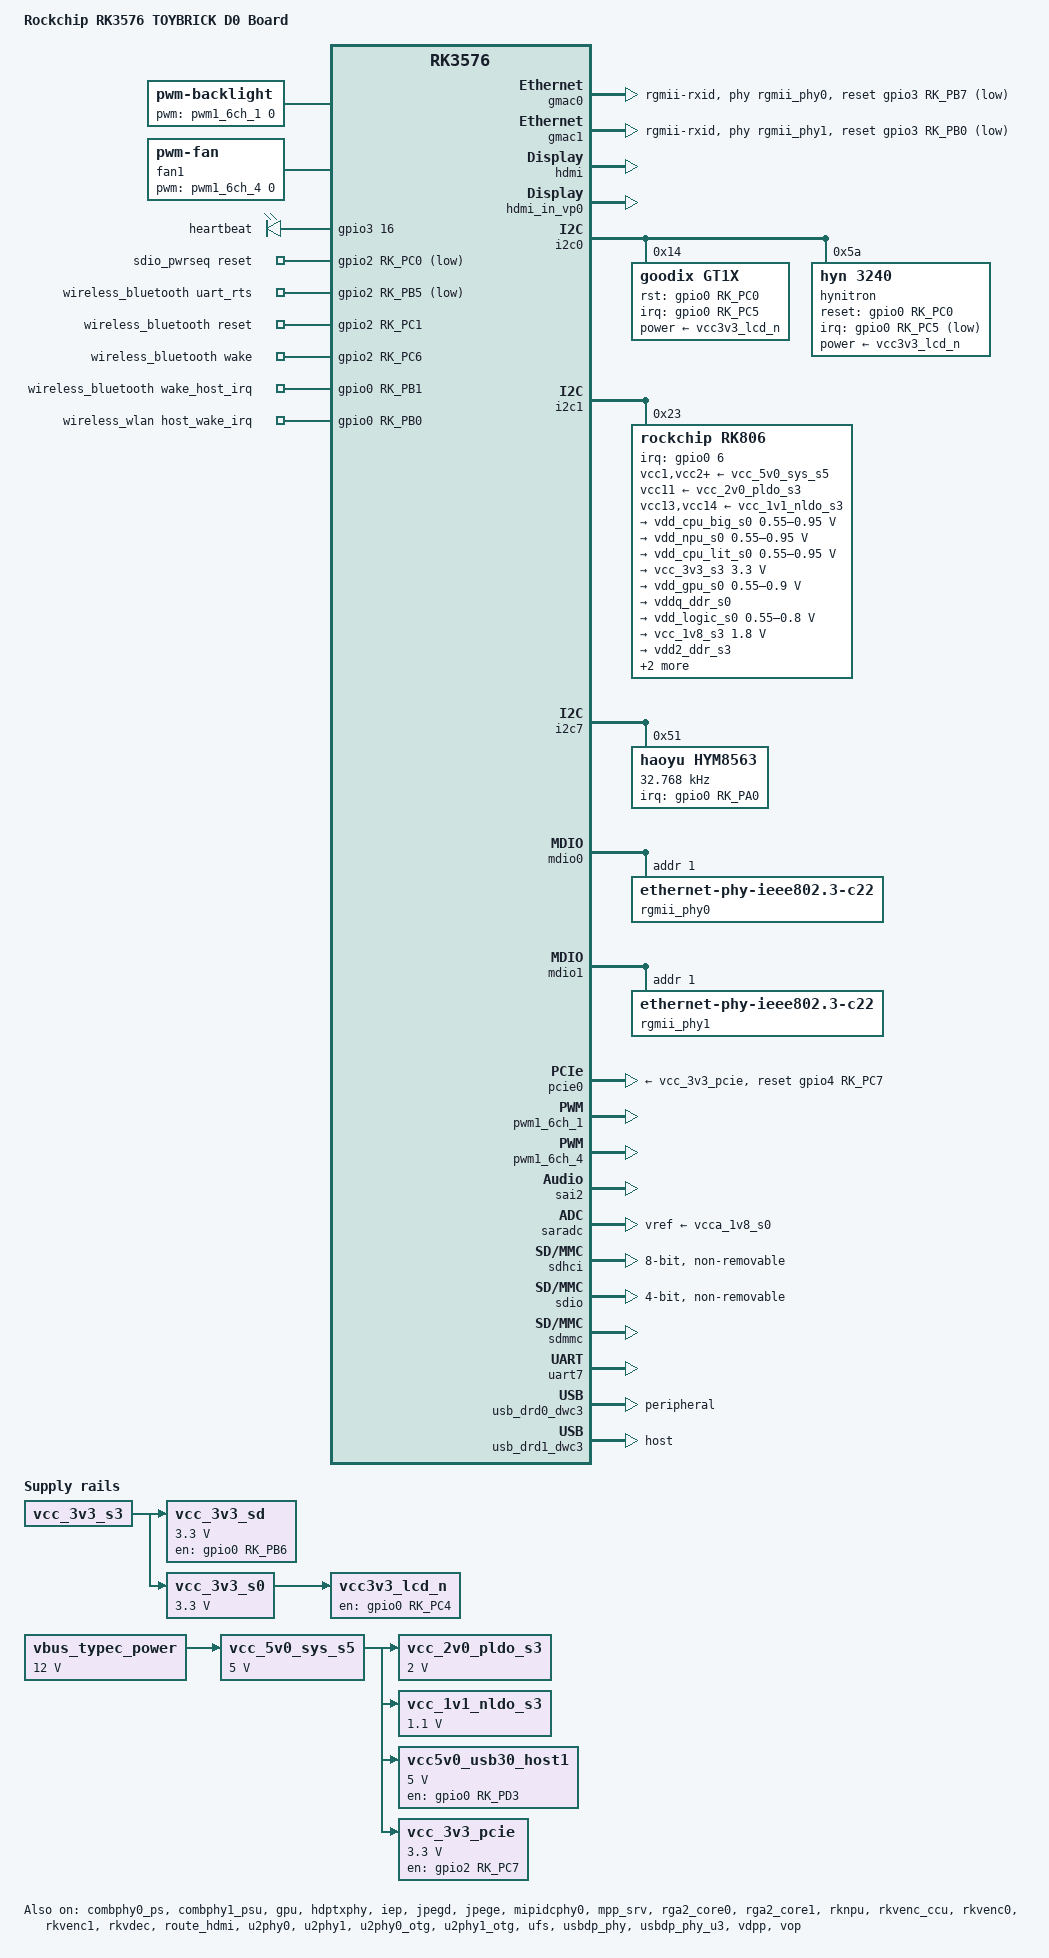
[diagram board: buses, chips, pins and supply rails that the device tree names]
// SPDX-License-Identifier: (GPL-2.0+ OR MIT)
/*
 * Copyright (c) 2024 Rockchip Electronics Co., Ltd.
 *
 */

/dts-v1/;

#include <dt-bindings/gpio/gpio.h>
#include <dt-bindings/pwm/pwm.h>
#include <dt-bindings/pinctrl/rockchip.h>
#include <dt-bindings/input/rk-input.h>
#include <dt-bindings/display/drm_mipi_dsi.h>
#include <dt-bindings/display/rockchip_vop.h>
#include <dt-bindings/sensor-dev.h>
#include <dt-bindings/usb/pd.h>
#include "rk3576.dtsi"
#include "rk3576-linux.dtsi"
#include "rk3576-pinctrl.dtsi"
#include "rk3576-toybrick-cam-dcphy0.dtsi"
#include "rk3576-toybrick-cam-dphy3.dtsi"

/ {
	model = "Rockchip RK3576 TOYBRICK D0 Board";
	compatible = "rockchip,rk3576-toybrick-d0", "rockchip,rk3576";

	reserved_memory: reserved-memory {
		#address-cells = <2>;
		#size-cells = <2>;
		ranges;
		vendor_storage_rm: vendor-storage-rm@00000000 {
				compatible = "rockchip,vendor-storage-rm";
				reg = <0x0 0x0 0x0 0x0>;
		};
	};
	vendor_storage: vendor-storage {
		compatible = "rockchip,ram-vendor-storage";
		memory-region = <&vendor_storage_rm>;
		status = "okay";
	};
	backlight: backlight {
		compatible = "pwm-backlight";
		pwms = <&pwm1_6ch_1 0 25000 0>;
		brightness-levels = <
			  0  20  20  21  21  22  22  23
			 23  24  24  25  25  26  26  27
			 27  28  28  29  29  30  30  31
			 31  32  32  33  33  34  34  35
			 35  36  36  37  37  38  38  39
			 40  41  42  43  44  45  46  47
			 48  49  50  51  52  53  54  55
			 56  57  58  59  60  61  62  63
			 64  65  66  67  68  69  70  71
			 72  73  74  75  76  77  78  79
			 80  81  82  83  84  85  86  87
			 88  89  90  91  92  93  94  95
			 96  97  98  99 100 101 102 103
			104 105 106 107 108 109 110 111
			112 113 114 115 116 117 118 119
			120 121 122 123 124 125 126 127
			128 129 130 131 132 133 134 135
			136 137 138 139 140 141 142 143
			144 145 146 147 148 149 150 151
			152 153 154 155 156 157 158 159
			160 161 162 163 164 165 166 167
			168 169 170 171 172 173 174 175
			176 177 178 179 180 181 182 183
			184 185 186 187 188 189 190 191
			192 193 194 195 196 197 198 199
			200 201 202 203 204 205 206 207
			208 209 210 211 212 213 214 215
			216 217 218 219 220 221 222 223
			224 225 226 227 228 229 230 231
			232 233 234 235 236 237 238 239
			240 241 242 243 244 245 246 247
			248 249 250 251 252 253 254 255
		>;
		default-brightness-level = <200>;
	};

	fan1 {
		compatible = "pwm-fan";
		pwms = <&pwm1_6ch_4 0 40000 0>;
		cooling-levels = <0 80 170 255>;
	};

	// leds: gpio-leds {
	// 	compatible = "gpio-leds";
	// 	pinctrl-names = "default";
	// 	pinctrl-0 =<&leds_gpio>;

	// 	led@1 {
	// 		gpios = <&gpio3 16 GPIO_ACTIVE_HIGH>;
	// 		label = "heartbeat";
	// 		linux,default-trigger = "heartbeat";
	// 	};
	// };

	leds: leds {
		compatible = "gpio-leds";
		work_led: work {
			gpios = <&gpio3 16 GPIO_ACTIVE_HIGH>;
			label = "heartbeat";
			linux,default-trigger = "heartbeat";
		};
	};

	sdio_pwrseq: sdio-pwrseq {
		compatible = "mmc-pwrseq-simple";
		clocks = <&hym8563>;
		clock-names = "ext_clock";
		pinctrl-names = "default";
		pinctrl-0 = <&wifi_poweren_gpio>;

		/*
		 * On the module itself this is one of these (depending
		 * on the actual card populated):
		 * - SDIO_RESET_L_WL_REG_ON
		 * - PDN (power down when low)
		 */
		post-power-on-delay-ms = <200>;
		reset-gpios = <&gpio2 RK_PC0 GPIO_ACTIVE_LOW>;
	};

	vbus_typec_power: vbus-typec-power {
		compatible = "regulator-fixed";
		regulator-name = "vbus_typec_power";
		regulator-always-on;
		regulator-boot-on;
		regulator-min-microvolt = <12000000>;
		regulator-max-microvolt = <12000000>;
	};

	vcc_5v0_sys_s5: vcc-5v0-sys-s5 {
		compatible = "regulator-fixed";
		regulator-name = "vcc_5v0_sys_s5";
		regulator-boot-on;
		regulator-always-on;
		regulator-min-microvolt = <5000000>;
		regulator-max-microvolt = <5000000>;
		vin-supply = <&vbus_typec_power>;
	};

	vcc_2v0_pldo_s3: vcc-2v0-pldo-s3 {
		compatible = "regulator-fixed";
		regulator-name = "vcc_2v0_pldo_s3";
		regulator-boot-on;
		regulator-always-on;
		regulator-min-microvolt = <2000000>;
		regulator-max-microvolt = <2000000>;
		vin-supply = <&vcc_5v0_sys_s5>;
	};

	vcc_1v1_nldo_s3: vcc-1v1-nldo-s3 {
		compatible = "regulator-fixed";
		regulator-name = "vcc_1v1_nldo_s3";
		regulator-boot-on;
		regulator-always-on;
		regulator-min-microvolt = <1100000>;
		regulator-max-microvolt = <1100000>;
		vin-supply = <&vcc_5v0_sys_s5>;
	};

	vcc5v0_usb30_host1: vcc5v0-usb30-host1 {
		compatible = "regulator-fixed";
		regulator-name = "vcc5v0_usb30_host1";
		regulator-boot-on;
		regulator-always-on;
		regulator-min-microvolt = <5000000>;
		regulator-max-microvolt = <5000000>;
		vin-supply = <&vcc_5v0_sys_s5>;
		enable-active-high;
		gpio = <&gpio0 RK_PD3 GPIO_ACTIVE_HIGH>;
		pinctrl-names = "default";
		pinctrl-0 = <&usb_host_pwren>;
	};

	// vcc5v0_usb_otg0: vcc5v0-usb-otg0 {
	//	compatible = "regulator-fixed";
	//	regulator-name = "vcc5v0_usb_otg0";
	//	regulator-boot-on;
	//	regulator-always-on;
	//	regulator-min-microvolt = <5000000>;
	//	regulator-max-microvolt = <5000000>;
	//	vin-supply = <&vcc_5v0_sys_s5>;
	//	enable-active-high;
	//	gpio = <&gpio0 RK_PA5 GPIO_ACTIVE_HIGH>;
	//	pinctrl-names = "default";
	//	pinctrl-0 = <&usb_otg_pwren>;
	// };

	 vcc_3v3_sd: vcc-3v3-sd {
		compatible = "regulator-fixed";
		regulator-name = "vcc_3v3_sd";
		regulator-boot-on;
		regulator-always-on;
		regulator-min-microvolt = <3300000>;
		regulator-max-microvolt = <3300000>;
		vin-supply = <&vcc_3v3_s3>;
		enable-active-high;
		gpio = <&gpio0 RK_PB6 GPIO_ACTIVE_HIGH>;
		pinctrl-names = "default";
		pinctrl-0 = <&sd_pwren>;
	 };

	vcc_3v3_pcie: vcc-3v3-pcie {
		compatible = "regulator-fixed";
		regulator-name = "vcc_3v3_pcie";
		regulator-boot-on;
		regulator-always-on;
		regulator-min-microvolt = <3300000>;
		regulator-max-microvolt = <3300000>;
		vin-supply = <&vcc_5v0_sys_s5>;
		enable-active-high;
		gpio = <&gpio2 RK_PC7 GPIO_ACTIVE_HIGH>;
		pinctrl-names = "default";
		pinctrl-0 = <&pcie_pwren>;
	};

	vcc_3v3_s0: vcc-3v3-s0 {
		compatible = "regulator-fixed";
		regulator-name = "vcc_3v3_s0";
		regulator-boot-on;
		regulator-always-on;
		regulator-min-microvolt = <3300000>;
		regulator-max-microvolt = <3300000>;
		vin-supply = <&vcc_3v3_s3>;
	};

	vcc3v3_lcd_n: vcc3v3-lcd0-n {
		compatible = "regulator-fixed";
		regulator-name = "vcc3v3_lcd0_n";
		regulator-boot-on;
		enable-active-high;
		gpio = <&gpio0 RK_PC4 GPIO_ACTIVE_HIGH>;
		vin-supply = <&vcc_3v3_s0>;
	};

	wireless_bluetooth: wireless-bluetooth {
		compatible = "bluetooth-platdata";
		uart_rts_gpios = <&gpio2 RK_PB5 GPIO_ACTIVE_LOW>;
		pinctrl-names = "default", "rts_gpio";
		pinctrl-0 = <&uart7m0_rtsn>, <&bt_reset_gpio>, <&bt_host_wake_irq>, <&bt_wake_gpio>;
		pinctrl-1 = <&uart7_gpios>;
		BT,reset_gpio    = <&gpio2 RK_PC1 GPIO_ACTIVE_HIGH>;
		BT,wake_gpio     = <&gpio2 RK_PC6 GPIO_ACTIVE_HIGH>;
		BT,wake_host_irq = <&gpio0 RK_PB1 GPIO_ACTIVE_HIGH>;
		status = "okay";
	};

	wireless_wlan: wireless-wlan {
		compatible = "wlan-platdata";
		wifi_chip_type = "ap6275p";
		pinctrl-names = "default";
		pinctrl-0 = <&wifi_host_wake_irq>;
		WIFI,host_wake_irq = <&gpio0 RK_PB0 GPIO_ACTIVE_HIGH>;
		// WIFI,poweren_gpio = <&gpio2 RK_PC0 GPIO_ACTIVE_HIGH>;
		status = "okay";
	};
};

&combphy0_ps {
	status = "okay";
};

&combphy1_psu {
	status = "okay";
};

&cpu_l0 {
	cpu-supply = <&vdd_cpu_lit_s0>;
};

&cpu_b0 {
	cpu-supply = <&vdd_cpu_big_s0>;
};

&display_subsystem {
	clocks = <&hdptxphy>;
	clock-names = "hdmi0_phy_pll";
};

&dsi {
	status = "disabled";
	//rockchip,lane-rate = <1000>;
	dsi_panel: panel@0 {
		status = "okay";
		compatible = "simple-panel-dsi";
		reg = <0>;
		power-supply = <&vcc3v3_lcd_n>;
		backlight = <&backlight>;
		reset-delay-ms = <10>;
		enable-delay-ms = <10>;
		prepare-delay-ms = <10>;
		unprepare-delay-ms = <10>;
		disable-delay-ms = <60>;
		width-mm = <68>;
		height-mm = <121>;
		dsi,flags = <(MIPI_DSI_MODE_VIDEO | MIPI_DSI_MODE_VIDEO_BURST |
			      MIPI_DSI_MODE_LPM | MIPI_DSI_MODE_NO_EOT_PACKET)>;
		dsi,format = <MIPI_DSI_FMT_RGB888>;
		dsi,lanes  = <4>;
		panel-init-sequence = [
			23 00 02 FE 21
			23 00 02 04 00
			23 00 02 00 64
			23 00 02 2A 00
			23 00 02 26 64
			23 00 02 54 00
			23 00 02 50 64
			23 00 02 7B 00
			23 00 02 77 64
			23 00 02 A2 00
			23 00 02 9D 64
			23 00 02 C9 00
			23 00 02 C5 64
			23 00 02 01 71
			23 00 02 27 71
			23 00 02 51 71
			23 00 02 78 71
			23 00 02 9E 71
			23 00 02 C6 71
			23 00 02 02 89
			23 00 02 28 89
			23 00 02 52 89
			23 00 02 79 89
			23 00 02 9F 89
			23 00 02 C7 89
			23 00 02 03 9E
			23 00 02 29 9E
			23 00 02 53 9E
			23 00 02 7A 9E
			23 00 02 A0 9E
			23 00 02 C8 9E
			23 00 02 09 00
			23 00 02 05 B0
			23 00 02 31 00
			23 00 02 2B B0
			23 00 02 5A 00
			23 00 02 55 B0
			23 00 02 80 00
			23 00 02 7C B0
			23 00 02 A7 00
			23 00 02 A3 B0
			23 00 02 CE 00
			23 00 02 CA B0
			23 00 02 06 C0
			23 00 02 2D C0
			23 00 02 56 C0
			23 00 02 7D C0
			23 00 02 A4 C0
			23 00 02 CB C0
			23 00 02 07 CF
			23 00 02 2F CF
			23 00 02 58 CF
			23 00 02 7E CF
			23 00 02 A5 CF
			23 00 02 CC CF
			23 00 02 08 DD
			23 00 02 30 DD
			23 00 02 59 DD
			23 00 02 7F DD
			23 00 02 A6 DD
			23 00 02 CD DD
			23 00 02 0E 15
			23 00 02 0A E9
			23 00 02 36 15
			23 00 02 32 E9
			23 00 02 5F 15
			23 00 02 5B E9
			23 00 02 85 15
			23 00 02 81 E9
			23 00 02 AD 15
			23 00 02 A9 E9
			23 00 02 D3 15
			23 00 02 CF E9
			23 00 02 0B 14
			23 00 02 33 14
			23 00 02 5C 14
			23 00 02 82 14
			23 00 02 AA 14
			23 00 02 D0 14
			23 00 02 0C 36
			23 00 02 34 36
			23 00 02 5D 36
			23 00 02 83 36
			23 00 02 AB 36
			23 00 02 D1 36
			23 00 02 0D 6B
			23 00 02 35 6B
			23 00 02 5E 6B
			23 00 02 84 6B
			23 00 02 AC 6B
			23 00 02 D2 6B
			23 00 02 13 5A
			23 00 02 0F 94
			23 00 02 3B 5A
			23 00 02 37 94
			23 00 02 64 5A
			23 00 02 60 94
			23 00 02 8A 5A
			23 00 02 86 94
			23 00 02 B2 5A
			23 00 02 AE 94
			23 00 02 D8 5A
			23 00 02 D4 94
			23 00 02 10 D1
			23 00 02 38 D1
			23 00 02 61 D1
			23 00 02 87 D1
			23 00 02 AF D1
			23 00 02 D5 D1
			23 00 02 11 04
			23 00 02 39 04
			23 00 02 62 04
			23 00 02 88 04
			23 00 02 B0 04
			23 00 02 D6 04
			23 00 02 12 05
			23 00 02 3A 05
			23 00 02 63 05
			23 00 02 89 05
			23 00 02 B1 05
			23 00 02 D7 05
			23 00 02 18 AA
			23 00 02 14 36
			23 00 02 42 AA
			23 00 02 3D 36
			23 00 02 69 AA
			23 00 02 65 36
			23 00 02 8F AA
			23 00 02 8B 36
			23 00 02 B7 AA
			23 00 02 B3 36
			23 00 02 DD AA
			23 00 02 D9 36
			23 00 02 15 74
			23 00 02 3F 74
			23 00 02 66 74
			23 00 02 8C 74
			23 00 02 B4 74
			23 00 02 DA 74
			23 00 02 16 9F
			23 00 02 40 9F
			23 00 02 67 9F
			23 00 02 8D 9F
			23 00 02 B5 9F
			23 00 02 DB 9F
			23 00 02 17 DC
			23 00 02 41 DC
			23 00 02 68 DC
			23 00 02 8E DC
			23 00 02 B6 DC
			23 00 02 DC DC
			23 00 02 1D FF
			23 00 02 19 03
			23 00 02 47 FF
			23 00 02 43 03
			23 00 02 6E FF
			23 00 02 6A 03
			23 00 02 94 FF
			23 00 02 90 03
			23 00 02 BC FF
			23 00 02 B8 03
			23 00 02 E2 FF
			23 00 02 DE 03
			23 00 02 1A 35
			23 00 02 44 35
			23 00 02 6B 35
			23 00 02 91 35
			23 00 02 B9 35
			23 00 02 DF 35
			23 00 02 1B 45
			23 00 02 45 45
			23 00 02 6C 45
			23 00 02 92 45
			23 00 02 BA 45
			23 00 02 E0 45
			23 00 02 1C 55
			23 00 02 46 55
			23 00 02 6D 55
			23 00 02 93 55
			23 00 02 BB 55
			23 00 02 E1 55
			23 00 02 22 FF
			23 00 02 1E 68
			23 00 02 4C FF
			23 00 02 48 68
			23 00 02 73 FF
			23 00 02 6F 68
			23 00 02 99 FF
			23 00 02 95 68
			23 00 02 C1 FF
			23 00 02 BD 68
			23 00 02 E7 FF
			23 00 02 E3 68
			23 00 02 1F 7E
			23 00 02 49 7E
			23 00 02 70 7E
			23 00 02 96 7E
			23 00 02 BE 7E
			23 00 02 E4 7E
			23 00 02 20 97
			23 00 02 4A 97
			23 00 02 71 97
			23 00 02 97 97
			23 00 02 BF 97
			23 00 02 E5 97
			23 00 02 21 B5
			23 00 02 4B B5
			23 00 02 72 B5
			23 00 02 98 B5
			23 00 02 C0 B5
			23 00 02 E6 B5
			23 00 02 25 F0
			23 00 02 23 E8
			23 00 02 4F F0
			23 00 02 4D E8
			23 00 02 76 F0
			23 00 02 74 E8
			23 00 02 9C F0
			23 00 02 9A E8
			23 00 02 C4 F0
			23 00 02 C2 E8
			23 00 02 EA F0
			23 00 02 E8 E8
			23 00 02 24 FF
			23 00 02 4E FF
			23 00 02 75 FF
			23 00 02 9B FF
			23 00 02 C3 FF
			23 00 02 E9 FF
			23 00 02 FE 3D
			23 00 02 00 04
			23 00 02 FE 23
			23 00 02 08 82
			23 00 02 0A 00
			23 00 02 0B 00
			23 00 02 0C 01
			23 00 02 16 00
			23 00 02 18 02
			23 00 02 1B 04
			23 00 02 19 04
			23 00 02 1C 81
			23 00 02 1F 00
			23 00 02 20 03
			23 00 02 23 04
			23 00 02 21 01
			23 00 02 54 63
			23 00 02 55 54
			23 00 02 6E 45
			23 00 02 6D 36
			23 00 02 FE 3D
			23 00 02 55 78
			23 00 02 FE 20
			23 00 02 26 30
			23 00 02 FE 3D
			23 00 02 20 71
			23 00 02 50 8F
			23 00 02 51 8F
			23 00 02 FE 00
			23 00 02 35 00
			05 78 01 11
			05 00 01 29
		];

		panel-exit-sequence = [
			05 00 01 28
			05 00 01 10
		];

		disp_timings0: display-timings {
			native-mode = <&dsi_timing0>;
			dsi_timing0: timing0 {
				clock-frequency = <132000000>;
				hactive = <1080>;
				vactive = <1920>;
				hfront-porch = <15>;
				hsync-len = <4>;
				hback-porch = <30>;
				vfront-porch = <15>;
				vsync-len = <2>;
				vback-porch = <15>;
				hsync-active = <0>;
				vsync-active = <0>;
				de-active = <0>;
				pixelclk-active = <0>;
			};
		};

		ports {
			#address-cells = <1>;
			#size-cells = <0>;

			port@0 {
				reg = <0>;
				panel_in_dsi: endpoint {
					remote-endpoint = <&dsi_out_panel>;
				};
			};
		};
	};

	ports {
		#address-cells = <1>;
		#size-cells = <0>;

		port@1 {
			reg = <1>;
			dsi_out_panel: endpoint {
				remote-endpoint = <&panel_in_dsi>;
			};
		};
	};

};

&dsi_in_vp0 {
	status = "disabled";
};

&dsi_in_vp1 {
	status = "disabled";
};

&dsi_in_vp2 {
	status = "disabled";
};

&dsi_in_vopl {
	status = "disabled";
};

&gmac0 {
	/* Use rgmii-rxid mode to disable rx delay inside Soc */
	phy-mode = "rgmii-rxid";
	clock_in_out = "output";

	snps,reset-gpio = <&gpio3 RK_PB7 GPIO_ACTIVE_LOW>;
	snps,reset-active-low;
	/* Reset time is 20ms, 100ms for rtl8211f */
	snps,reset-delays-us = <0 20000 100000>;

	pinctrl-names = "default";
	pinctrl-0 = <&eth0m0_miim
		     &eth0m0_tx_bus2
		     &eth0m0_rx_bus2
		     &eth0m0_rgmii_clk
		     &eth0m0_rgmii_bus
		     &ethm0_clk0_25m_out>;

	tx_delay = <0x21>;
	/* rx_delay = <0x3f>; */

	phy-handle = <&rgmii_phy0>;
	status = "okay";
};

&gmac1 {
	/* Use rgmii-rxid mode to disable rx delay inside Soc */
	phy-mode = "rgmii-rxid";
	clock_in_out = "output";

	snps,reset-gpio = <&gpio3 RK_PB0 GPIO_ACTIVE_LOW>;
	snps,reset-active-low;
	/* Reset time is 20ms, 100ms for rtl8211f */
	snps,reset-delays-us = <0 20000 100000>;

	pinctrl-names = "default";
	pinctrl-0 = <&eth1m1_miim
		     &eth1m1_tx_bus2
		     &eth1m1_rx_bus2
		     &eth1m1_rgmii_clk
		     &eth1m1_rgmii_bus
		     &ethm1_clk1_25m_out>;

	tx_delay = <0x22>;
	/* rx_delay = <0x3f>; */

	phy-handle = <&rgmii_phy1>;
	status = "okay";
};

&gpu {
	mali-supply = <&vdd_gpu_s0>;
	status = "okay";
};

&hdmi {
	status = "okay";
	enable-gpios = <&gpio4 RK_PC4 GPIO_ACTIVE_HIGH>;
	rockchip,sda-falling-delay-ns = <360>;
};

&hdmi_in_vp0 {
	status = "okay";
};

&hdptxphy {
	status = "okay";
};

&i2c0 {
	pinctrl-0 = <&i2c0m1_xfer>;
	status = "okay";

	gt1x: gt1x@14 {
		status = "okay";
		compatible = "goodix,gt1x";
		reg = <0x14>;
		pinctrl-names = "default";
		pinctrl-0 = <&touch_gpio>;
		goodix,rst-gpio = <&gpio0 RK_PC0 GPIO_ACTIVE_HIGH>;
		goodix,irq-gpio = <&gpio0 RK_PC5 IRQ_TYPE_LEVEL_LOW>;
		power-supply = <&vcc3v3_lcd_n>;
	};

	hynitron: hynitron@5a {
		status = "okay";
		compatible = "hyn,3240";
		reg = <0x5a>;
		power-supply = <&vcc3v3_lcd_n>;

		pinctrl-names = "ts_active","ts_suspend";
		pinctrl-0 = <&ts_int_active &ts_reset_active>;
		pinctrl-1 = <&ts_int_suspend &ts_reset_suspend>;

		reset-gpios = <&gpio0 RK_PC0 GPIO_ACTIVE_HIGH>;
		irq-gpios = <&gpio0 RK_PC5 GPIO_ACTIVE_LOW>;

		max-touch-number = <5>;
		display-coords = <0 0 1080 1920>;
		pos-swap = <0>;
		posx-reverse = <0>;
		posy-reverse = <0>;
	};
};

&i2c1 {
	status = "okay";

	rk806: pmic@23 {
		compatible = "rockchip,rk806";
		reg = <0x23>;

		interrupt-parent = <&gpio0>;
		interrupts = <6 IRQ_TYPE_LEVEL_LOW>;

		pinctrl-names = "default";
		pinctrl-0 = <&pmic_pins>;

		/* 2800mv-3500mv */
		low_voltage_threshold = <3000>;
		/* 2700mv-3400mv */
		shutdown_voltage_threshold = <2700>;
		/* 140 160 */
		shutdown_temperture_threshold = <160>;
		hotdie_temperture_threshold = <115>;

		/* PWRON_ON_TIME: 0:500mS; 1:20mS */
		pwron-on-time-500ms;

		/* 0: restart PMU;
		 * 1: reset all the power off reset registers,
		 *    forcing the state to switch to ACTIVE mode;
		 * 2: Reset all the power off reset registers,
		 *    forcing the state to switch to ACTIVE mode,
		 *    and simultaneously pull down the RESETB PIN for 5mS before releasing
		 */
		pmic-reset-func = <1>;
		/* buck5 external feedback resister disable */
		buck5-feedback-disable;

		vcc1-supply = <&vcc_5v0_sys_s5>;
		vcc2-supply = <&vcc_5v0_sys_s5>;
		vcc3-supply = <&vcc_5v0_sys_s5>;
		vcc4-supply = <&vcc_5v0_sys_s5>;
		vcc5-supply = <&vcc_5v0_sys_s5>;
		vcc6-supply = <&vcc_5v0_sys_s5>;
		vcc7-supply = <&vcc_5v0_sys_s5>;
		vcc8-supply = <&vcc_5v0_sys_s5>;
		vcc9-supply = <&vcc_5v0_sys_s5>;
		vcc10-supply = <&vcc_5v0_sys_s5>;
		vcc11-supply = <&vcc_2v0_pldo_s3>;
		vcc12-supply = <&vcc_5v0_sys_s5>;
		vcc13-supply = <&vcc_1v1_nldo_s3>;
		vcc14-supply = <&vcc_1v1_nldo_s3>;
		vcca-supply = <&vcc_5v0_sys_s5>;

		pwrkey {
			status = "okay";
		};

		regulators {
			vdd_cpu_big_s0: DCDC_REG1 {
				regulator-always-on;
				regulator-boot-on;
				regulator-init-microvolt = <850000>;
				regulator-min-microvolt = <550000>;
				regulator-max-microvolt = <950000>;
				regulator-ramp-delay = <12500>;
				regulator-name = "vdd_cpu_big_s0";
				regulator-enable-ramp-delay = <400>;
				regulator-state-mem {
					regulator-off-in-suspend;
				};
			};

			vdd_npu_s0: DCDC_REG2 {
				regulator-always-on;
				regulator-boot-on;
				regulator-min-microvolt = <550000>;
				regulator-max-microvolt = <950000>;
				regulator-ramp-delay = <12500>;
				regulator-name = "vdd_npu_s0";
				regulator-state-mem {
					regulator-off-in-suspend;
				};
			};

			vdd_cpu_lit_s0: DCDC_REG3 {
				regulator-always-on;
				regulator-boot-on;
				regulator-init-microvolt = <850000>;
				regulator-min-microvolt = <550000>;
				regulator-max-microvolt = <950000>;
				regulator-ramp-delay = <12500>;
				regulator-name = "vdd_cpu_lit_s0";
				regulator-state-mem {
					regulator-off-in-suspend;
					regulator-suspend-microvolt = <750000>;
				};
			};

			vcc_3v3_s3: DCDC_REG4 {
				regulator-always-on;
				regulator-boot-on;
				regulator-min-microvolt = <3300000>;
				regulator-max-microvolt = <3300000>;
				regulator-name = "vcc_3v3_s3";
				regulator-state-mem {
					regulator-on-in-suspend;
					regulator-suspend-microvolt = <3300000>;
				};
			};

			vdd_gpu_s0: DCDC_REG5 {
				regulator-boot-on;
				regulator-init-microvolt = <750000>;
				regulator-min-microvolt = <550000>;
				regulator-max-microvolt = <900000>;
				regulator-ramp-delay = <12500>;
				regulator-name = "vdd_gpu_s0";
				regulator-enable-ramp-delay = <400>;
				regulator-state-mem {
					regulator-off-in-suspend;
					regulator-suspend-microvolt = <850000>;
				};
			};

			vddq_ddr_s0: DCDC_REG6 {
				regulator-always-on;
				regulator-boot-on;
				regulator-name = "vddq_ddr_s0";
				regulator-state-mem {
					regulator-off-in-suspend;
				};
			};

			vdd_logic_s0: vdd_log_mem_s0: DCDC_REG7 {
				regulator-always-on;
				regulator-boot-on;
				regulator-init-microvolt = <750000>;
				regulator-min-microvolt = <550000>;
				regulator-max-microvolt = <800000>;
				regulator-name = "vdd_logic_s0";
				regulator-state-mem {
					regulator-off-in-suspend;
				};
			};

			vcc_1v8_s3: DCDC_REG8 {
				regulator-always-on;
				regulator-boot-on;
				regulator-min-microvolt = <1800000>;
				regulator-max-microvolt = <1800000>;
				regulator-name = "vcc_1v8_s3";
				regulator-state-mem {
					regulator-on-in-suspend;
					regulator-suspend-microvolt = <1800000>;
				};
			};

			vdd2_ddr_s3: DCDC_REG9 {
				regulator-always-on;
				regulator-boot-on;
				regulator-name = "vdd2_ddr_s3";
				regulator-state-mem {
					regulator-on-in-suspend;
				};
			};

			vdd_ddr_s0: DCDC_REG10 {
				regulator-always-on;
				regulator-boot-on;
				regulator-min-microvolt = <550000>;
				regulator-max-microvolt = <1200000>;
				regulator-name = "vdd_ddr_s0";
				regulator-state-mem {
					regulator-off-in-suspend;
				};
			};

			vcca_1v8_s0: PLDO_REG1 {
				regulator-always-on;
				regulator-boot-on;
				regulator-min-microvolt = <1800000>;
				regulator-max-microvolt = <1800000>;
				regulator-name = "vcca_1v8_s0";
				regulator-state-mem {
					regulator-off-in-suspend;
				};
			};

			vcc_1v8_cam: PLDO_REG2 {
				regulator-always-on;
				regulator-boot-on;
				regulator-min-microvolt = <1800000>;
				regulator-max-microvolt = <1800000>;
				regulator-name = "vcc_1v8_cam";
				regulator-state-mem {
					regulator-off-in-suspend;
				};
			};

			vdda_1v2_s0: PLDO_REG3 {
				regulator-always-on;
				regulator-boot-on;
				regulator-min-microvolt = <1200000>;
				regulator-max-microvolt = <1200000>;
				regulator-name = "vdda_1v2_s0";
				regulator-state-mem {
					regulator-off-in-suspend;
				};
			};

			vcca3v3_codec: PLDO_REG4 {
				regulator-always-on;
				regulator-boot-on;
				regulator-min-microvolt = <3300000>;
				regulator-max-microvolt = <3300000>;
				regulator-name = "vcca3v3_codec";
				regulator-state-mem {
					regulator-off-in-suspend;
				};
			};

			vccio_sd_s0: PLDO_REG5 {
				regulator-always-on;
				regulator-boot-on;
				regulator-min-microvolt = <1800000>;
				regulator-max-microvolt = <3300000>;
				regulator-name = "vccio_sd_s0";
				regulator-state-mem {
					regulator-on-in-suspend;
				};
			};

			vcca1v8_pldo6_s3: PLDO_REG6 {
				regulator-always-on;
				regulator-boot-on;
				regulator-min-microvolt = <1800000>;
				regulator-max-microvolt = <1800000>;
				regulator-name = "vcca1v8_pldo6_s3";
				regulator-state-mem {
					regulator-on-in-suspend;
					regulator-suspend-microvolt = <1800000>;
				};
			};

			vdd_0v75_s3: NLDO_REG1 {
				regulator-always-on;
				regulator-boot-on;
				regulator-min-microvolt = <750000>;
				regulator-max-microvolt = <750000>;
				regulator-name = "vdd_0v75_s3";
				regulator-state-mem {
					regulator-on-in-suspend;
					regulator-suspend-microvolt = <750000>;
				};
			};

			vdda_ddr_pll_s0: NLDO_REG2 {
				regulator-always-on;
				regulator-boot-on;
				regulator-min-microvolt = <850000>;
				regulator-max-microvolt = <850000>;
				regulator-name = "vdda_ddr_pll_s0";
				regulator-state-mem {
					regulator-off-in-suspend;
				};
			};

			vdda0v75_hdmi_s0: NLDO_REG3 {
				regulator-always-on;
				regulator-boot-on;
				regulator-min-microvolt = <750000>;
				regulator-max-microvolt = <750000>;
				regulator-name = "vdda0v75_hdmi_s0";
				regulator-state-mem {
					regulator-off-in-suspend;
				};
			};

			vdda_0v85_s0: NLDO_REG4 {
				regulator-always-on;
				regulator-boot-on;
				regulator-min-microvolt = <850000>;
				regulator-max-microvolt = <850000>;
				regulator-name = "vdda_0v85_s0";
				regulator-state-mem {
					regulator-off-in-suspend;
				};
			};

			vdda_0v75_s0: NLDO_REG5 {
				regulator-always-on;
				regulator-boot-on;
				regulator-min-microvolt = <750000>;
				regulator-max-microvolt = <750000>;
				regulator-name = "vdda_0v75_s0";
				regulator-state-mem {
					regulator-off-in-suspend;
				};
			};
		};
	};
};

&i2c7 {
	status = "okay";
	pinctrl-names = "default";
	pinctrl-0 = <&i2c7m2_xfer>;

	hym8563: hym8563@51 {
		compatible = "haoyu,hym8563";
		reg = <0x51>;
		#clock-cells = <0>;
		clock-frequency = <32768>;
		clock-output-names = "hym8563";
		pinctrl-names = "default";
		pinctrl-0 = <&rtc_int>;

		interrupt-parent = <&gpio0>;
		interrupts = <RK_PA0 IRQ_TYPE_LEVEL_LOW>;
		wakeup-source;
	};
};

&iep {
	status = "okay";
};

&iep_mmu {
	status = "okay";
};

&jpegd {
	status = "okay";
};

&jpege {
	status = "okay";
};

&jpeg_mmu {
	status = "okay";
};

&mdio0 {
	rgmii_phy0: phy@1 {
		compatible = "ethernet-phy-ieee802.3-c22";
		reg = <0x1>;
		clocks = <&cru REFCLKO25M_GMAC0_OUT>;
	};
};

&mdio1 {
	rgmii_phy1: phy@1 {
		compatible = "ethernet-phy-ieee802.3-c22";
		reg = <0x1>;
		clocks = <&cru REFCLKO25M_GMAC1_OUT>;
	};
};

&mipidcphy0 {
	status = "okay";
};

&mpp_srv {
	status = "okay";
};

&pcie0 {
	rockchip,skip-scan-in-resume;
	reset-gpios = <&gpio4 RK_PC7 GPIO_ACTIVE_HIGH>;
	vpcie3v3-supply = <&vcc_3v3_pcie>;
	status = "okay";
};

&pinctrl {
	hym8563 {
		rtc_int: rtc-int {
			rockchip,pins = <0 RK_PA0 RK_FUNC_GPIO &pcfg_pull_up>;
		};
	};
	gpio-leds {
		leds_gpio: leds-gpio {
			rockchip,pins = <3 16 RK_FUNC_GPIO &pcfg_pull_up>;
		};
	};

	pcie {
		pcie_reset_gpio: pcie-reset-gpio {
			rockchip,pins = <4 RK_PC7 RK_FUNC_GPIO &pcfg_pull_none>;
		};
		pcie_wake_gpio: pcie-wake-gpio {
			rockchip,pins = <0 RK_PD2 RK_FUNC_GPIO &pcfg_pull_none>;
		};
		pcie_pwren: pcie-pwren {
			rockchip,pins = <2 RK_PC7 RK_FUNC_GPIO &pcfg_pull_up>;
		};
	};

	 sd {
		sd_pwren: sd-pwren {
			rockchip,pins = <0 RK_PB6 RK_FUNC_GPIO &pcfg_pull_up>;
		};
	 };

	touch {
		touch_gpio: touch-gpio {
			rockchip,pins =
				<0 RK_PC0 RK_FUNC_GPIO &pcfg_pull_up>,
				<0 RK_PC5 RK_FUNC_GPIO &pcfg_pull_up>;
		};

		ts_int_active: ts_int_active {
			rockchip,pins = <0 RK_PC5 RK_FUNC_GPIO &pcfg_pull_up>;
		};

		ts_reset_active: ts_reset_active {
			rockchip,pins = <0 RK_PC0 RK_FUNC_GPIO &pcfg_pull_up>;
		};

		ts_int_suspend: ts_int_suspend {
			rockchip,pins = <0 RK_PC5 RK_FUNC_GPIO &pcfg_pull_down>;
		};

		ts_reset_suspend: ts_reset_suspend {
			rockchip,pins = <0 RK_PC0 RK_FUNC_GPIO &pcfg_pull_down>;
		};
	};

	usb {
		usb_host_pwren: usb-host-pwren {
			rockchip,pins = <0 RK_PD3 RK_FUNC_GPIO &pcfg_pull_up>;
		};
	//	usb_otg_pwren: usb-otg-pwren {
	//		rockchip,pins = <0 RK_PA5 RK_FUNC_GPIO &pcfg_pull_up>;
	//	};
	};

	wireless-bluetooth {
		uart7_gpios: uart7-gpios {
			rockchip,pins = <2 RK_PB5 RK_FUNC_GPIO &pcfg_pull_none>;
		};
		bt_host_wake_irq: bt-host-wake-irq {
			rockchip,pins = <0 RK_PB1 RK_FUNC_GPIO &pcfg_pull_down>;
		};
		bt_reset_gpio: bt-reset-gpio {
			rockchip,pins = <2 RK_PC1 RK_FUNC_GPIO &pcfg_pull_down>;
		};
		bt_wake_gpio: bt-wake-gpio {
			rockchip,pins = <2 RK_PC6 RK_FUNC_GPIO &pcfg_pull_down>;
		};
	};

	wireless-wlan {
		wifi_host_wake_irq: wifi-host-wake-irq {
			rockchip,pins = <0 RK_PB0 RK_FUNC_GPIO &pcfg_pull_down>;
		};

		wifi_poweren_gpio: wifi-poweren-gpio {
			rockchip,pins = <2 RK_PC0 RK_FUNC_GPIO &pcfg_pull_up>;
		};
	};
};

&pwm1_6ch_1 {
	status = "okay";
	pinctrl-0 = <&pwm1m0_ch1>;
};

&pwm1_6ch_4 {
	status = "okay";
	pinctrl-0 = <&pwm1m0_ch4>;
};

&rga2_core0 {
	status = "okay";
};

&rga2_core0_mmu {
	status = "okay";
};

&rga2_core1 {
	status = "okay";
};

&rga2_core1_mmu {
	status = "okay";
};

&rknpu {
	rknpu-supply = <&vdd_npu_s0>;
	status = "okay";
};

&rknpu_mmu {
	status = "okay";
};

&rkvenc_ccu {
	status = "okay";
};

&rkvenc0 {
	status = "okay";
};

&rkvenc0_mmu {
	status = "okay";
};

&rkvenc1 {
	status = "okay";
};

&rkvenc1_mmu {
	status = "okay";

};

&rkvdec {
	status = "okay";
};

&rkvdec_mmu {
	status = "okay";
};

&route_dsi {
	status = "disabled";
	connect = <&vp1_out_dsi>;
};

&route_hdmi {
	status = "okay";
	connect = <&vp0_out_hdmi>;
};

&sai2 {
	status = "okay";
	pinctrl-names = "default";
	pinctrl-0 = <&sai2m1_lrck
		     &sai2m1_sclk
		     &sai2m1_sdi
		     &sai2m1_sdo>;
};

&saradc {
	status = "okay";
	vref-supply = <&vcca_1v8_s0>;
};

&sdhci {
	bus-width = <8>;
	no-sdio;
	no-sd;
	non-removable;
	max-frequency = <200000000>;
	mmc-hs400-1_8v;
	mmc-hs400-enhanced-strobe;
	full-pwr-cycle-in-suspend;
	status = "okay";
};

&sdio {
	max-frequency = <150000000>;
	no-sd;
	no-mmc;
	bus-width = <4>;
	disable-wp;
	cap-sd-highspeed;
	cap-sdio-irq;
	keep-power-in-suspend;
	mmc-pwrseq = <&sdio_pwrseq>;
	non-removable;
	pinctrl-names = "default";
	pinctrl-0 = <&sdmmc1m1_bus4 &sdmmc1m1_clk &sdmmc1m1_cmd>;
	sd-uhs-sdr104;
	status = "okay";
};

&sdmmc {
	supports-sd;
	status = "okay";
};

&rockchip_suspend {
	status = "okay";
};

&uart7 {
	status = "okay";
	pinctrl-names = "default";
	pinctrl-0 = <&uart7m0_xfer &uart7m0_ctsn>;
};

&u2phy0 {
	status = "okay";
};

&u2phy1 {
	status = "okay";
};

&u2phy0_otg {
	status = "okay";
};

&u2phy1_otg {
	phy-supply = <&vcc5v0_usb30_host1>;
	status = "okay";
};

&ufs {
	reset-gpios = <&gpio4 RK_PD0 GPIO_ACTIVE_HIGH>;
	status = "okay";
};

&usbdp_phy {
	status = "okay";
};

&usbdp_phy_dp {
	status = "disabled";
};

&usbdp_phy_u3 {
	status = "okay";
};

&usb_drd0_dwc3 {
	dr_mode = "peripheral";
	extcon = <&u2phy0>;
	status = "okay";
};

&usb_drd1_dwc3 {
	dr_mode = "host";
	//	extcon = <&u2phy1>;
	status = "okay";
};

&vdpp {
	status = "okay";
};

&vop {
	status = "okay";
	vop-supply = <&vdd_logic_s0>;
};

&vop_mmu {
	status = "okay";
};

&vp2 {
	assigned-clocks = <&cru DCLK_VP2_SRC>;
	assigned-clock-parents = <&cru PLL_VPLL>;
};
